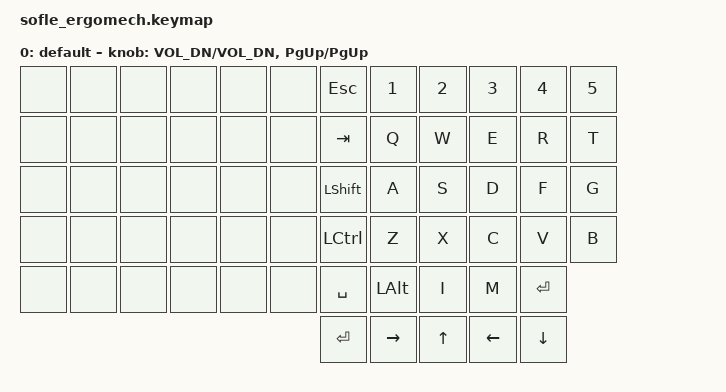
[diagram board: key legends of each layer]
/*
 * Copyright (c) 2020 The ZMK Contributors
 *
 * SPDX-License-Identifier: MIT
 */

#include <behaviors.dtsi>
#include <dt-bindings/zmk/keys.h>

#define BASE 0
#define LOWER 1
#define RAISE 2
#define ADJUST 3

/ {
    // Activate ADJUST layer by pressing raise and lower

    conditional_layers {
        compatible = "zmk,conditional-layers";

        adjust_layer {
            if-layers = <1 1>;
            then-layer = <1>;
        };
    };

    keymap {
        compatible = "zmk,keymap";

        default_layer {
            label = "default";

            // ------------------------------------------------------------------------------------------------------------
            // |   `   |  1  |  2  |  3   |  4   |  5   |                   |  6   |  7    |  8    |  9   |   0   |       |
            // |  ESC  |  Q  |  W  |  E   |  R   |  T   |                   |  Y   |  U    |  I    |  O   |   P   | BKSPC |
            // |  TAB  |  A  |  S  |  D   |  F   |  G   |                   |  H   |  J    |  K    |  L   |   ;   |   '   |
            // | SHIFT |  Z  |  X  |  C   |  V   |  B   |  MUTE  |  |       |  N   |  M    |  ,    |  .   |   /   | SHIFT |
            //               | GUI | ALT  | CTRL | LOWER|  ENTER |  | SPACE | RAISE| CTRL  | ALT   | GUI  |

            bindings = <
&none  &none  &none  &none  &none  &none  &kp ESCAPE      &kp NUMBER_1  &kp NUMBER_2  &kp NUMBER_3  &kp NUMBER_4  &kp N5
&none  &none  &none  &none  &none  &none  &kp TAB         &kp Q         &kp W         &kp E         &kp R         &kp T
&none  &none  &none  &none  &none  &none  &kp LEFT_SHIFT  &kp A         &kp S         &kp D         &kp F         &kp G
&none  &none  &none  &none  &none  &none  &kp LCTRL       &kp Z         &kp X         &kp C         &kp V         &kp B
&none  &none  &none  &none  &none  &none  &kp SPACE       &kp LEFT_ALT  &kp I         &kp M         &kp ENTER
                                          &kp ENTER       &kp RIGHT     &kp UP_ARROW  &kp LEFT      &kp DOWN
            >;

            sensor-bindings = <&inc_dec_kp C_VOL_DN C_VOL_DN &inc_dec_kp PG_UP PG_UP>;
        };
    };
};
